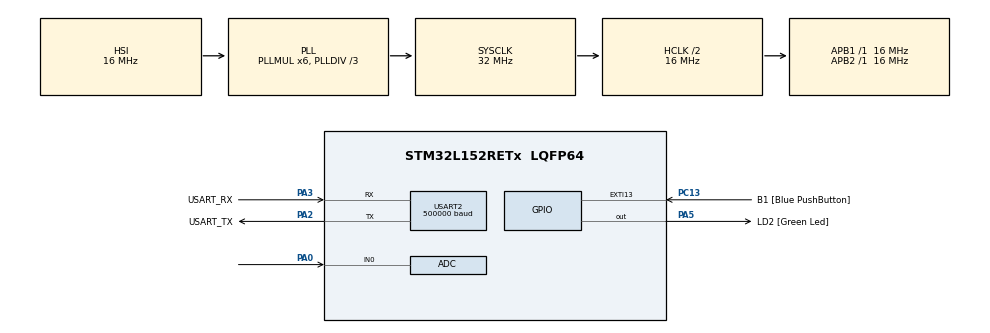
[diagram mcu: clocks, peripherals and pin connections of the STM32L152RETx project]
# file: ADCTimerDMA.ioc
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ADC.Channel-0\#ChannelRegularConversion=ADC_CHANNEL_0
ADC.ExternalTrigConv=ADC_EXTERNALTRIGCONV_T2_TRGO
ADC.ExternalTrigConvEdge=ADC_EXTERNALTRIGCONVEDGE_RISINGFALLING
ADC.NbrOfConversionFlag=1
ADC.Rank-0\#ChannelRegularConversion=1
ADC.SamplingTime-0\#ChannelRegularConversion=ADC_SAMPLETIME_4CYCLES
Dma.ADC.0.Direction=DMA_PERIPH_TO_MEMORY
Dma.ADC.0.Instance=DMA1_Channel1
Dma.ADC.0.MemDataAlignment=DMA_MDATAALIGN_HALFWORD
Dma.ADC.0.MemInc=DMA_MINC_ENABLE
Dma.ADC.0.Mode=DMA_CIRCULAR
Dma.ADC.0.PeriphDataAlignment=DMA_PDATAALIGN_HALFWORD
Dma.ADC.0.PeriphInc=DMA_PINC_DISABLE
Dma.ADC.0.Priority=DMA_PRIORITY_LOW
Dma.Request0=ADC
Mcu.Family=STM32L1
Mcu.Name=STM32L152RETx
Mcu.Package=LQFP64
NVIC.DMA1_Channel1_IRQn=true\:0\:0\:false\:false\:true\:false\:true
NVIC.PriorityGroup=NVIC_PRIORITYGROUP_0
PA0-WKUP1.Mode=IN0
PA0-WKUP1.Signal=ADC_IN0
PA13.GPIO_Label=TMS
PA13.Mode=Serial_Wire
PA13.Signal=SYS_JTMS-SWDIO
PA14.GPIO_Label=TCK
PA14.Mode=Serial_Wire
PA14.Signal=SYS_JTCK-SWCLK
PA2.GPIO_Label=USART_TX
PA2.Mode=Asynchronous
PA2.Signal=USART2_TX
PA3.GPIO_Label=USART_RX
PA3.Mode=Asynchronous
PA3.Signal=USART2_RX
PA5.GPIO_Label=LD2 [Green Led]
PA5.Signal=GPIO_Output
PB3.GPIO_Label=SWO
PB3.Signal=SYS_JTDO-TRACESWO
PC13-WKUP2.GPIO_Label=B1 [Blue PushButton]
PC13-WKUP2.Signal=GPXTI13
PC14-OSC32_IN.Mode=LSE-External-Oscillator
PC14-OSC32_IN.Signal=RCC_OSC32_IN
PC15-OSC32_OUT.Mode=LSE-External-Oscillator
PC15-OSC32_OUT.Signal=RCC_OSC32_OUT
PH0-OSC_IN.Mode=HSE-External-Clock-Source
PH0-OSC_IN.Signal=RCC_OSC_IN
PH1-OSC_OUT.Signal=RCC_OSC_OUT
ProjectManager.HeapSize=0x200
ProjectManager.StackSize=0x400
ProjectManager.TargetToolchain=STM32CubeIDE
RCC.48MHZClocksFreq_Value=48000000
RCC.AHBCLKDivider=RCC_SYSCLK_DIV2
RCC.AHBFreq_Value=16000000
RCC.APB1Freq_Value=16000000
RCC.APB1TimFreq_Value=16000000
RCC.APB2Freq_Value=16000000
RCC.APB2TimFreq_Value=16000000
RCC.HCLKFreq_Value=16000000
RCC.HSE_VALUE=8000000
RCC.HSI_VALUE=16000000
RCC.MSI_VALUE=2097000
RCC.PLLDIV=RCC_PLL_DIV3
RCC.PLLMUL=RCC_PLL_MUL6
RCC.RTCClockSelectionVirtual=RCC_RTCCLKSOURCE_LSE
RCC.SYSCLKFreq_VALUE=32000000
RCC.SYSCLKSource=RCC_SYSCLKSOURCE_PLLCLK
RCC.USBOutput=48000000
RCC.VCOOutputFreq_Value=96000000
TIM2.Period=16-1
TIM2.TIM_MasterOutputTrigger=TIM_TRGO_UPDATE
USART2.BaudRate=500000
USART2.VirtualMode=VM_ASYNC
VP_TIM2_VS_ClockSourceINT.Mode=Internal
board=NUCLEO-L152RE

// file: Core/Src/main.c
/* USER CODE BEGIN Header */
/**
  ******************************************************************************
  * @file           : main.c
  * @brief          : Main program body
  ******************************************************************************
  * @attention
  *
  * Copyright (c) 2022 STMicroelectronics.
  * All rights reserved.
  *
  * This software is licensed under terms that can be found in the LICENSE file
  * in the root directory of this software component.
  * If no LICENSE file comes with this software, it is provided AS-IS.
  *
  ******************************************************************************
  */
/* USER CODE END Header */
#include "main.h"

/* USER CODE BEGIN Includes */
#include<string.h>
#include<stdio.h>
/* USER CODE END Includes */

ADC_HandleTypeDef hadc;
DMA_HandleTypeDef hdma_adc;

TIM_HandleTypeDef htim2;

UART_HandleTypeDef huart2;

/* USER CODE BEGIN PV */
#define DMALEN  	2000
#define NUMBUFFCAP 	11
#define TOTCAP  	NUMBUFFCAP * DMALEN
uint16_t DMABuff[DMALEN];
uint16_t currPos = 0;
uint16_t dataCap[TOTCAP];
char msg[40];

/* USER CODE END PV */

void SystemClock_Config(void);
static void MX_GPIO_Init(void);
static void MX_USART2_UART_Init(void);
static void MX_DMA_Init(void);
static void MX_ADC_Init(void);
static void MX_TIM2_Init(void);

int main(void)
{

  /* MCU Configuration--------------------------------------------------------*/

  /* Reset of all peripherals, Initializes the Flash interface and the Systick. */
  HAL_Init();

  /* Configure the system clock */
  SystemClock_Config();

  /* Initialize all configured peripherals */
  MX_GPIO_Init();
  MX_USART2_UART_Init();
  MX_DMA_Init();
  MX_ADC_Init();
  MX_TIM2_Init();
  /* USER CODE BEGIN 2 */
  HAL_TIM_Base_Start(&htim2);

  HAL_ADC_Start_DMA(&hadc, (uint32_t *)DMABuff,DMALEN);
  /* USER CODE END 2 */

  /* Infinite loop */
  while (1)
  {

    /* USER CODE BEGIN 3 */
	  if(currPos == TOTCAP){
		  for(int i = 0; i<DMALEN; i++){
			  sprintf(msg,"%u\r\n",dataCap[i]);
			  HAL_UART_Transmit(&huart2, (uint8_t*)msg, strlen(msg), HAL_MAX_DELAY);
		  }

	  	}
  }
  /* USER CODE END 3 */
}

void SystemClock_Config(void)
{
  RCC_OscInitTypeDef RCC_OscInitStruct = {0};
  RCC_ClkInitTypeDef RCC_ClkInitStruct = {0};

  /** Configure the main internal regulator output voltage
  */
  __HAL_PWR_VOLTAGESCALING_CONFIG(PWR_REGULATOR_VOLTAGE_SCALE1);
  /** Initializes the RCC Oscillators according to the specified parameters
  * in the RCC_OscInitTypeDef structure.
  */
  RCC_OscInitStruct.OscillatorType = RCC_OSCILLATORTYPE_HSI;
  RCC_OscInitStruct.HSIState = RCC_HSI_ON;
  RCC_OscInitStruct.HSICalibrationValue = RCC_HSICALIBRATION_DEFAULT;
  RCC_OscInitStruct.PLL.PLLState = RCC_PLL_ON;
  RCC_OscInitStruct.PLL.PLLSource = RCC_PLLSOURCE_HSI;
  RCC_OscInitStruct.PLL.PLLMUL = RCC_PLL_MUL6;
  RCC_OscInitStruct.PLL.PLLDIV = RCC_PLL_DIV3;
  if (HAL_RCC_OscConfig(&RCC_OscInitStruct) != HAL_OK)
  {
    Error_Handler();
  }
  /** Initializes the CPU, AHB and APB buses clocks
  */
  RCC_ClkInitStruct.ClockType = RCC_CLOCKTYPE_HCLK|RCC_CLOCKTYPE_SYSCLK
                              |RCC_CLOCKTYPE_PCLK1|RCC_CLOCKTYPE_PCLK2;
  RCC_ClkInitStruct.SYSCLKSource = RCC_SYSCLKSOURCE_PLLCLK;
  RCC_ClkInitStruct.AHBCLKDivider = RCC_SYSCLK_DIV2;
  RCC_ClkInitStruct.APB1CLKDivider = RCC_HCLK_DIV1;
  RCC_ClkInitStruct.APB2CLKDivider = RCC_HCLK_DIV1;

  if (HAL_RCC_ClockConfig(&RCC_ClkInitStruct, FLASH_LATENCY_0) != HAL_OK)
  {
    Error_Handler();
  }
}

static void MX_ADC_Init(void)
{

  ADC_ChannelConfTypeDef sConfig = {0};

  /** Configure the global features of the ADC (Clock, Resolution, Data Alignment and number of conversion)
  */
  hadc.Instance = ADC1;
  hadc.Init.ClockPrescaler = ADC_CLOCK_ASYNC_DIV1;
  hadc.Init.Resolution = ADC_RESOLUTION_12B;
  hadc.Init.DataAlign = ADC_DATAALIGN_RIGHT;
  hadc.Init.ScanConvMode = ADC_SCAN_DISABLE;
  hadc.Init.EOCSelection = ADC_EOC_SEQ_CONV;
  hadc.Init.LowPowerAutoWait = ADC_AUTOWAIT_DISABLE;
  hadc.Init.LowPowerAutoPowerOff = ADC_AUTOPOWEROFF_DISABLE;
  hadc.Init.ChannelsBank = ADC_CHANNELS_BANK_A;
  hadc.Init.ContinuousConvMode = DISABLE;
  hadc.Init.NbrOfConversion = 1;
  hadc.Init.DiscontinuousConvMode = DISABLE;
  hadc.Init.ExternalTrigConv = ADC_EXTERNALTRIGCONV_T2_TRGO;
  hadc.Init.ExternalTrigConvEdge = ADC_EXTERNALTRIGCONVEDGE_RISINGFALLING;
  hadc.Init.DMAContinuousRequests = DISABLE;
  if (HAL_ADC_Init(&hadc) != HAL_OK)
  {
    Error_Handler();
  }
  /** Configure for the selected ADC regular channel its corresponding rank in the sequencer and its sample time.
  */
  sConfig.Channel = ADC_CHANNEL_0;
  sConfig.Rank = ADC_REGULAR_RANK_1;
  sConfig.SamplingTime = ADC_SAMPLETIME_4CYCLES;
  if (HAL_ADC_ConfigChannel(&hadc, &sConfig) != HAL_OK)
  {
    Error_Handler();
  }

}

static void MX_TIM2_Init(void)
{

  TIM_ClockConfigTypeDef sClockSourceConfig = {0};
  TIM_MasterConfigTypeDef sMasterConfig = {0};

  htim2.Instance = TIM2;
  htim2.Init.Prescaler = 0;
  htim2.Init.CounterMode = TIM_COUNTERMODE_UP;
  htim2.Init.Period = 16-1;
  htim2.Init.ClockDivision = TIM_CLOCKDIVISION_DIV1;
  htim2.Init.AutoReloadPreload = TIM_AUTORELOAD_PRELOAD_DISABLE;
  if (HAL_TIM_Base_Init(&htim2) != HAL_OK)
  {
    Error_Handler();
  }
  sClockSourceConfig.ClockSource = TIM_CLOCKSOURCE_INTERNAL;
  if (HAL_TIM_ConfigClockSource(&htim2, &sClockSourceConfig) != HAL_OK)
  {
    Error_Handler();
  }
  sMasterConfig.MasterOutputTrigger = TIM_TRGO_UPDATE;
  sMasterConfig.MasterSlaveMode = TIM_MASTERSLAVEMODE_DISABLE;
  if (HAL_TIMEx_MasterConfigSynchronization(&htim2, &sMasterConfig) != HAL_OK)
  {
    Error_Handler();
  }

}

static void MX_USART2_UART_Init(void)
{

  huart2.Instance = USART2;
  huart2.Init.BaudRate = 500000;
  huart2.Init.WordLength = UART_WORDLENGTH_8B;
  huart2.Init.StopBits = UART_STOPBITS_1;
  huart2.Init.Parity = UART_PARITY_NONE;
  huart2.Init.Mode = UART_MODE_TX_RX;
  huart2.Init.HwFlowCtl = UART_HWCONTROL_NONE;
  huart2.Init.OverSampling = UART_OVERSAMPLING_16;
  if (HAL_UART_Init(&huart2) != HAL_OK)
  {
    Error_Handler();
  }

}

static void MX_DMA_Init(void)
{

  /* DMA controller clock enable */
  __HAL_RCC_DMA1_CLK_ENABLE();

  /* DMA interrupt init */
  /* DMA1_Channel1_IRQn interrupt configuration */
  HAL_NVIC_SetPriority(DMA1_Channel1_IRQn, 0, 0);
  HAL_NVIC_EnableIRQ(DMA1_Channel1_IRQn);

}

static void MX_GPIO_Init(void)
{
  GPIO_InitTypeDef GPIO_InitStruct = {0};

  /* GPIO Ports Clock Enable */
  __HAL_RCC_GPIOC_CLK_ENABLE();
  __HAL_RCC_GPIOH_CLK_ENABLE();
  __HAL_RCC_GPIOA_CLK_ENABLE();
  __HAL_RCC_GPIOB_CLK_ENABLE();

  /*Configure GPIO pin Output Level */
  HAL_GPIO_WritePin(LD2_GPIO_Port, LD2_Pin, GPIO_PIN_RESET);

  /*Configure GPIO pin : B1_Pin */
  GPIO_InitStruct.Pin = B1_Pin;
  GPIO_InitStruct.Mode = GPIO_MODE_IT_RISING;
  GPIO_InitStruct.Pull = GPIO_NOPULL;
  HAL_GPIO_Init(B1_GPIO_Port, &GPIO_InitStruct);

  /*Configure GPIO pin : LD2_Pin */
  GPIO_InitStruct.Pin = LD2_Pin;
  GPIO_InitStruct.Mode = GPIO_MODE_OUTPUT_PP;
  GPIO_InitStruct.Pull = GPIO_NOPULL;
  GPIO_InitStruct.Speed = GPIO_SPEED_FREQ_LOW;
  HAL_GPIO_Init(LD2_GPIO_Port, &GPIO_InitStruct);

}

/* USER CODE BEGIN 4 */
void HAL_ADC_ConvCpltCallback(ADC_HandleTypeDef* hadc)
{
	for(int i = 0; i<DMALEN; i++){
		dataCap[currPos + i] = DMABuff[i];
	}
	currPos += DMALEN;

	if(currPos == TOTCAP){
		HAL_ADC_Stop_DMA(&hadc);
	}

	  HAL_ADC_Start_DMA(&hadc, (uint32_t *)DMABuff,DMALEN);
}

void HAL_ADC_ConvHalfCpltCallback(ADC_HandleTypeDef* hadc)
{

}
/* USER CODE END 4 */

void Error_Handler(void)
{
  __disable_irq();
  while (1)
  {
  }
}
